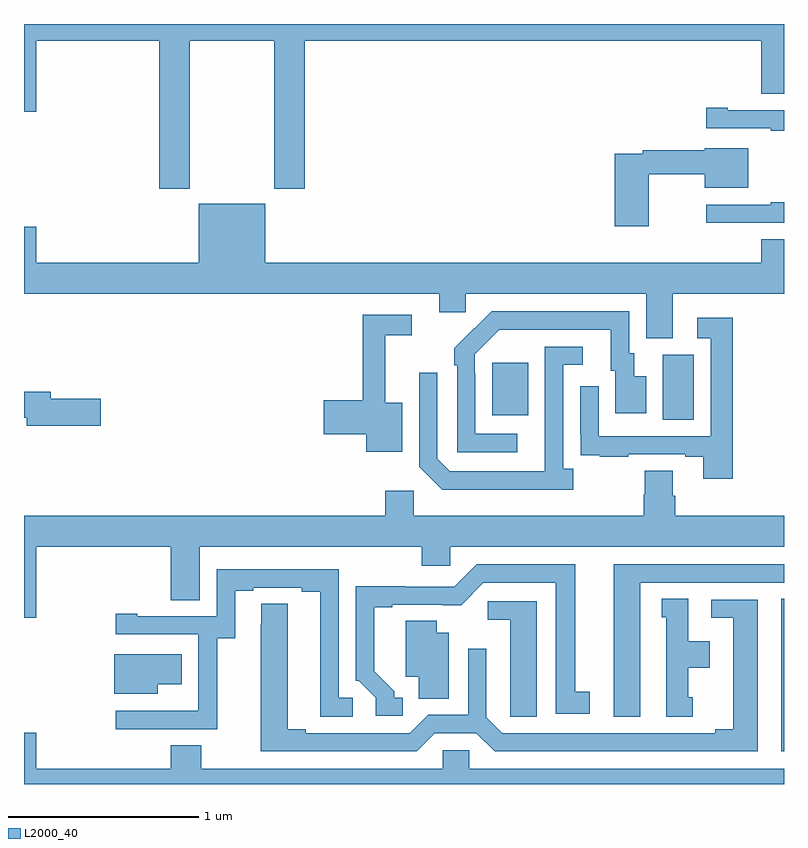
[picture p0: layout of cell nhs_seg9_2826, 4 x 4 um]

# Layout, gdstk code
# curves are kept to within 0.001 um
import gdstk
lib = gdstk.Library(unit=1e-6, precision=1e-09)
def R(c, l, rs):  # rectangles x0, y0, x1, y1
    for r in rs: c.add(gdstk.rectangle(r[:2], r[2:], *l))
def P(c, l, *ps):  # polygons
    for p in ps: c.add(gdstk.Polygon(p, *l))
L2000_40 = (2000, 40)

nhs_seg9_2826 = lib.new_cell('nhs_seg9_2826')
R(nhs_seg9_2826, L2000_40, [(276.986,1200.672,277,1201.475), (276.362,1202.416,276.526,1202.76), (275.465,1202.441,275.653,1202.716)])
P(nhs_seg9_2826, L2000_40, [(273.873,1204.412),(274.318,1204.412),(274.318,1203.633),(274.478,1203.633),(274.478,1204.412),(276.881,1204.412),(276.881,1204.132),(277,1204.132),(277,1204.5),(273,1204.5),(273,1204.038),(273.064,1204.038),(273.064,1204.412),(273.713,1204.412),(273.713,1203.633),(273.873,1203.633)],
  [(277,1204.047),(276.703,1204.047),(276.703,1204.06),(276.591,1204.06),(276.591,1203.951),(276.929,1203.951),(276.929,1203.939),(277,1203.939)],
  [(276.288,1203.708),(276.584,1203.708),(276.584,1203.638),(276.811,1203.638),(276.811,1203.847),(276.584,1203.847),(276.584,1203.836),(276.256,1203.836),(276.256,1203.816),(276.11,1203.816),(276.11,1203.435),(276.288,1203.435)],
  [(277,1203.562),(276.929,1203.562),(276.929,1203.549),(276.591,1203.549),(276.591,1203.453),(277,1203.453)],
  [(276.415,1203.08),(277,1203.08),(277,1203.368),(276.881,1203.368),(276.881,1203.244),(274.27,1203.244),(274.27,1203.553),(273.92,1203.553),(273.92,1203.244),(273.064,1203.244),(273.064,1203.433),(273,1203.433),(273,1203.08),(275.186,1203.08),(275.186,1202.982),(275.325,1202.982),(275.325,1203.08),(276.275,1203.08),(276.275,1202.845),(276.415,1202.845)],
  [(275.596,1202.343),(275.376,1202.343),(275.376,1202.663),(275.373,1202.663),(275.373,1202.763),(275.502,1202.892),(276.089,1202.892),(276.089,1202.676),(276.113,1202.676),(276.113,1202.451),(276.274,1202.451),(276.274,1202.647),(276.211,1202.647),(276.211,1202.766),(276.186,1202.766),(276.186,1202.988),(275.462,1202.988),(275.265,1202.793),(275.265,1202.705),(275.28,1202.705),(275.28,1202.247),(275.596,1202.247)],
  [(274.99,1202.506),(274.901,1202.506),(274.901,1202.862),(275.041,1202.862),(275.041,1202.97),(274.783,1202.97),(274.783,1202.519),(274.578,1202.519),(274.578,1202.341),(274.802,1202.341),(274.802,1202.249),(274.99,1202.249)],
  [(276.731,1202.953),(276.543,1202.953),(276.543,1202.847),(276.615,1202.847),(276.615,1202.331),(276.024,1202.331),(276.024,1202.593),(275.928,1202.593),(275.928,1202.338),(275.929,1202.338),(275.929,1202.229),(276.031,1202.229),(276.031,1202.223),(276.179,1202.223),(276.179,1202.235),(276.479,1202.235),(276.479,1202.223),(276.575,1202.223),(276.575,1202.106),(276.731,1202.106)],
  [(275.89,1202.158),(275.838,1202.158),(275.838,1202.706),(275.941,1202.706),(275.941,1202.802),(275.742,1202.802),(275.741,1202.145),(275.241,1202.145),(275.175,1202.211),(275.175,1202.665),(275.079,1202.665),(275.079,1202.169),(275.2,1202.048),(275.89,1202.048)],
  [(273.403,1202.528),(273.142,1202.528),(273.142,1202.564),(273,1202.564),(273,1202.428),(273.014,1202.428),(273.014,1202.386),(273.403,1202.386)],
  [(273.064,1201.748),(273.773,1201.748),(273.773,1201.468),(273.925,1201.468),(273.925,1201.748),(275.093,1201.748),(275.093,1201.65),(275.244,1201.65),(275.244,1201.748),(277,1201.748),(277,1201.912),(276.428,1201.912),(276.428,1202.018),(276.415,1202.018),(276.415,1202.15),(276.268,1202.15),(276.268,1202.025),(276.263,1202.025),(276.263,1201.912),(275.052,1201.912),(275.052,1202.044),(274.901,1202.044),(274.901,1201.912),(273,1201.912),(273,1201.374),(273.064,1201.374)],
  [(274.993,1200.954),(274.948,1200.954),(274.948,1200.989),(274.843,1201.094),(274.843,1201.431),(274.939,1201.431),(274.939,1201.443),(275.3,1201.442),(275.418,1201.56),(275.798,1201.56),(275.798,1200.87),(275.977,1200.87),(275.977,1200.986),(275.902,1200.986),(275.902,1201.656),(275.382,1201.656),(275.265,1201.539),(275.009,1201.539),(275.009,1201.541),(274.746,1201.541),(274.746,1201.044),(274.761,1201.044),(274.851,1200.954),(274.851,1200.858),(274.993,1200.858)],
  [(276.244,1201.56),(277,1201.56),(277,1201.656),(276.104,1201.656),(276.104,1200.855),(276.244,1200.855)],
  [(274.017,1201.267),(274.111,1201.267),(274.111,1201.518),(274.207,1201.518),(274.207,1201.533),(274.463,1201.533),(274.463,1201.513),(274.559,1201.513),(274.559,1200.853),(274.729,1200.853),(274.729,1200.954),(274.656,1200.954),(274.656,1201.629),(274.014,1201.629),(274.014,1201.383),(273.595,1201.383),(273.595,1201.396),(273.483,1201.396),(273.483,1201.287),(273.918,1201.287),(273.918,1200.886),(273.917,1200.886),(273.917,1200.885),(273.483,1200.885),(273.483,1200.789),(274.017,1200.789)],
  [(276.52,1200.957),(276.496,1200.957),(276.496,1201.112),(276.61,1201.112),(276.61,1201.252),(276.496,1201.252),(276.496,1201.475),(276.356,1201.475),(276.356,1201.377),(276.38,1201.377),(276.38,1200.855),(276.52,1200.855)],
  [(275.163,1200.768),(275.381,1200.768),(275.477,1200.672),(276.862,1200.672),(276.862,1201.47),(276.618,1201.47),(276.618,1201.374),(276.734,1201.374),(276.734,1200.788),(276.638,1200.788),(276.638,1200.768),(275.517,1200.768),(275.433,1200.852),(275.433,1201.213),(275.337,1201.213),(275.337,1200.864),(275.127,1200.864),(275.031,1200.768),(274.483,1200.768),(274.483,1200.788),(274.387,1200.788),(274.387,1201.448),(274.248,1201.448),(274.247,1200.672),(275.067,1200.672)],
  [(275.698,1201.461),(275.442,1201.461),(275.442,1201.364),(275.558,1201.364),(275.558,1200.961),(275.559,1200.961),(275.559,1200.853),(275.698,1200.853)],
  [(275.236,1201.297),(275.173,1201.297),(275.173,1201.358),(275.009,1201.358),(275.009,1201.064),(275.078,1201.064),(275.078,1200.949),(275.236,1200.949)],
  [(273.703,1201.025),(273.829,1201.025),(273.829,1201.183),(273.476,1201.183),(273.476,1200.974),(273.703,1200.974)],
  [(277,1200.58),(275.343,1200.58),(275.343,1200.678),(275.205,1200.678),(275.205,1200.58),(273.933,1200.58),(273.933,1200.704),(273.773,1200.704),(273.773,1200.58),(273.064,1200.58),(273.064,1200.769),(273,1200.769),(273,1200.5),(277,1200.5)])

lib.write_gds('nhs_seg9_2826.gds')
